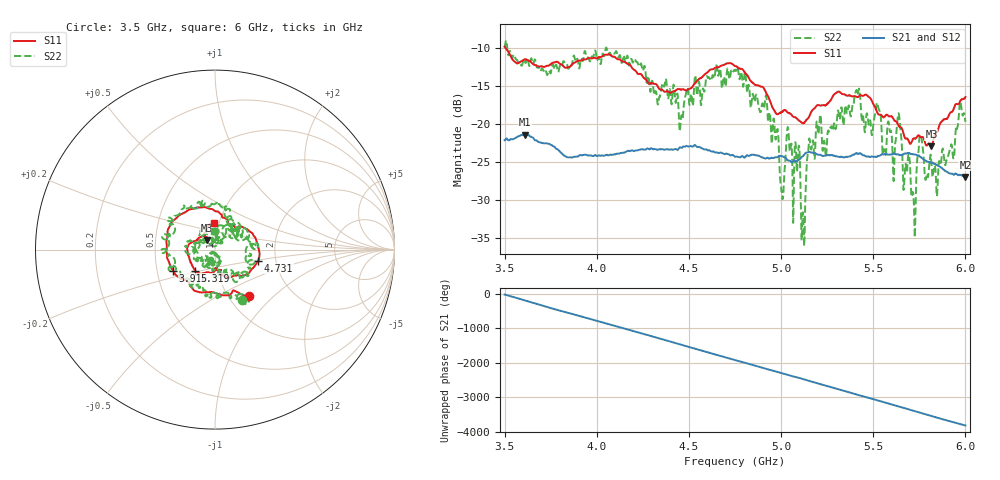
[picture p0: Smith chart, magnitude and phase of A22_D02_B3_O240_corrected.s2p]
! Created with skrf 1.9.0 (http://scikit-rf.org).
# Hz S RI R 50.0
!freq ReS11 ImS11 ReS21 ImS21 ReS12 ImS12 ReS22 ImS22
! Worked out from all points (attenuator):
!   1601 points, 3.5 GHz to 6 GHz, reference 50 ohm
!   highest |S21| = -21.41 dB at 3.611 GHz (marker M1); lowest = -27.0 dB at 6 GHz (marker M2)
!   lowest |S11| = -22.9 dB at 5.816 GHz (marker M3), VSWR 1.15, Z = 45.3 + j4.94 ohm
!   |S11| at or under -10 dB: 3.504 GHz to end of sweep
!   |S22| runs from -36.1 to -9.0 dB; largest |S21 - S12| = 0.00096
!   S11 on the Smith chart (normalised r, x): 3.5 GHz: 1.24, -0.72; 3.916 GHz: 0.61, -0.15; 4.731 GHz: 1.62, -0.21; 5.319 GHz: 0.78, -0.19; 6 GHz: 0.94, +0.29
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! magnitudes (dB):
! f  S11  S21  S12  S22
! 3.5 GHz  -9.9  -22.1  -22.1  -10.0
! 3.611 GHz  -11.5  -21.4  -21.4  -11.9
! 3.916 GHz  -11.7  -24.1  -24.1  -11.5
! 3.917 GHz  -11.7  -24.1  -24.1  -11.5
! 4.334 GHz  -15.3  -23.4  -23.3  -17.2
! 4.458 GHz  -15.5  -23.1  -23.1  -19.1
! 4.731 GHz  -12.1  -24.1  -24.1  -13.1
! 4.75 GHz  -12.4  -24.3  -24.2  -13.0
! 4.927 GHz  -16.2  -24.4  -24.4  -18.6
! 5.005 GHz  -18.4  -24.2  -24.2  -28.9
! 5.036 GHz  -18.5  -24.8  -24.7  -20.4
! 5.088 GHz  -19.3  -24.9  -24.8  -26.1
! 5.119 GHz  -19.9  -24.2  -24.2  -31.6
! 5.167 GHz  -18.3  -23.8  -23.7  -22.9
! 5.319 GHz  -15.8  -24.4  -24.3  -19.4
! 5.584 GHz  -19.0  -24.0  -24.0  -19.8
! 5.612 GHz  -19.5  -23.9  -23.8  -26.7
! 5.641 GHz  -20.4  -24.1  -24.0  -18.9
! 5.717 GHz  -21.9  -24.0  -23.9  -29.1
! 5.755 GHz  -21.7  -24.3  -24.2  -21.4
! 5.816 GHz  -22.9  -25.1  -25.1  -25.1
! 6 GHz  -16.5  -27.0  -26.9  -19.7
